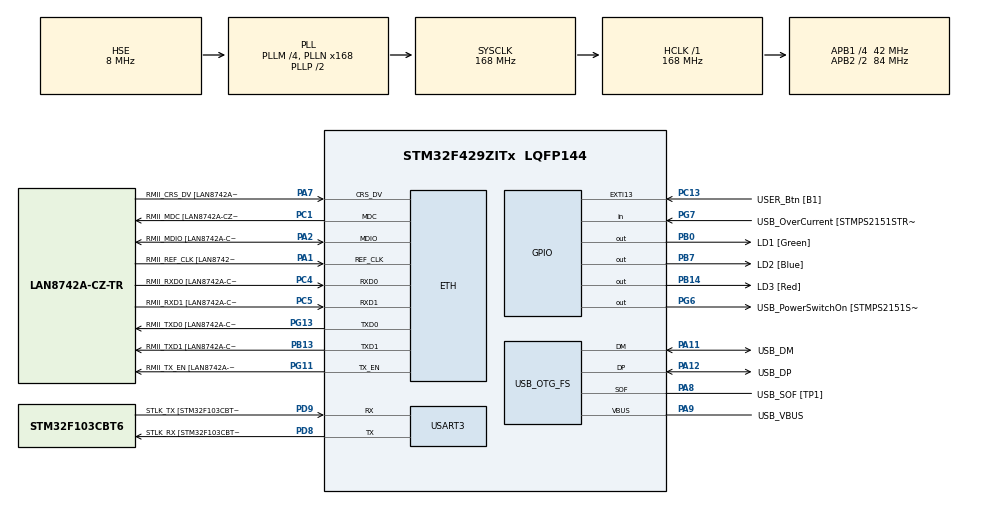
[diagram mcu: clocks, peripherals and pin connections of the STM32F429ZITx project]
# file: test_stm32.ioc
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Mcu.Family=STM32F4
RCC.CortexFreq_Value=168000000
PG6.Signal=GPIO_Output
PB14.GPIO_Label=LD3 [Red]
PG6.GPIO_Label=USB_PowerSwitchOn [STMPS2151STR_EN]
PA14.GPIO_Label=TCK
RCC.SYSCLKSourceVirtual=RCC_SYSCLKSOURCE_PLLCLK
PA11.Mode=Device_Only
PB0.GPIO_Label=LD1 [Green]
PC14/OSC32_IN.Mode=LSE-External-Oscillator
PC5.Mode=RMII
PC13.GPIO_Label=USER_Btn [B1]
PB13.GPIO_Label=RMII_TXD1 [LAN8742A-CZ-TR_TXD1]
PB13.Signal=ETH_TXD1
PG13.Signal=ETH_TXD0
PD9.Mode=Asynchronous
PG11.Signal=ETH_TX_EN
RCC.SYSCLKSource=RCC_SYSCLKSOURCE_PLLCLK
ProjectManager.StackSize=0x400
PA12.Signal=USB_OTG_FS_DP
ETH.PHY_Value=0
PH0/OSC_IN.Mode=HSE-External-Clock-Source
RCC.HCLKFreq_Value=168000000
RCC.APB2TimFreq_Value=168000000
PH1/OSC_OUT.Signal=RCC_OSC_OUT
PD8.Signal=USART3_TX
RCC.AHBFreq_Value=168000000
NVIC.EXTI15_10_IRQn=true\:0\:0\:false\:false\:true\:true\:true
RCC.HSE_VALUE=8000000
RCC.PLLMUL=RCC_PLL_MUL9
PC4.GPIO_Label=RMII_RXD0 [LAN8742A-CZ-TR_RXD0]
PA14.Mode=Serial_Wire
PA10.GPIO_Label=USB_ID
PB7.Signal=GPIO_Output
PA8.Signal=USB_OTG_FS_SOF
PG13.Mode=RMII
ETH.PHY_Name=LAN8742A_PHY_ADDRESS
PH1/OSC_OUT.Mode=HSE-External-Clock-Source
PB7.GPIO_Label=LD2 [Blue]
Mcu.Package=LQFP144
PC14/OSC32_IN.Signal=RCC_OSC32_IN
PA2.GPIO_Label=RMII_MDIO [LAN8742A-CZ-TR_MDIO]
PA10.Signal=USB_OTG_FS_ID
USB_OTG_FS.VirtualMode=Device_Only
RCC.APB2CLKDivider=RCC_HCLK_DIV2
RCC.APB1TimFreq_Value=84000000
PG11.GPIO_Label=RMII_TX_EN [LAN8742A-CZ-TR_TXEN]
PC5.Signal=ETH_RXD1
PB13.Mode=RMII
PC4.Mode=RMII
ETH.AutoNegotiation=ETH_AUTONEGOTIATION_DISABLE
PA7.Mode=RMII
PG7.Signal=GPIO_Input
PD9.GPIO_Label=STLK_TX [STM32F103CBT6_PA2]
PC13.Signal=GPXTI13
PA9.GPIO_Label=USB_VBUS
PC4.Signal=ETH_RXD0
PA11.GPIO_Label=USB_DM
PD9.Signal=USART3_RX
RCC.APB1CLKDivider=RCC_HCLK_DIV4
PG13.GPIO_Label=RMII_TXD0 [LAN8742A-CZ-TR_TXD0]
ETH.PhyAddress=0
PA12.GPIO_Label=USB_DP
PD8.GPIO_Label=STLK_RX [STM32F103CBT6_PA3]
PA13.Signal=SYS_JTMS-SWDIO
PA9.Mode=Activate_VBUS
PA8.GPIO_Label=USB_SOF [TP1]
ProjectManager.TargetToolchain=STM32CubeIDE
PA9.Signal=USB_OTG_FS_VBUS
RCC.USBFreq_Value=48000000
PD8.Mode=Asynchronous
PA1.Signal=ETH_REF_CLK
PB14.Signal=GPIO_Output
board=NUCLEO-F429ZI
RCC.VCOOutputFreq_Value=336000000
PH0/OSC_IN.Signal=RCC_OSC_IN
RCC.APB2Freq_Value=84000000
PA1.Mode=RMII
RCC.PRESCALERUSB=RCC_USBCLKSOURCE_PLL_DIV1_5
PG7.GPIO_Label=USB_OverCurrent [STMPS2151STR_FAULT]
PA1.GPIO_Label=RMII_REF_CLK [LAN8742A-CZ-TR_REFCLK0]
PC1.GPIO_Label=RMII_MDC [LAN8742A-CZ-TR_MDC]
PA13.Mode=Serial_Wire
Mcu.Name=STM32F429ZITx
PA2.Signal=ETH_MDIO
PA13.GPIO_Label=TMS
RCC.APB2TimCLKDivider=2
RCC.48MHZClocksFreq_Value=48000000
RCC.SYSCLKFreq_VALUE=168000000
ETH.MediaInterface=ETH_MEDIA_INTERFACE_RMII
PA7.GPIO_Label=RMII_CRS_DV [LAN8742A-CZ-TR_CRS_DV]
PA12.Mode=Device_Only
PC5.GPIO_Label=RMII_RXD1 [LAN8742A-CZ-TR_RXD1]
USART3.VirtualMode=VM_ASYNC
PC15/OSC32_OUT.Mode=LSE-External-Oscillator
PG11.Mode=RMII
PA11.Signal=USB_OTG_FS_DM
PA14.Signal=SYS_JTCK-SWCLK
ProjectManager.HeapSize=0x200
RCC.HSI_VALUE=16000000
PH0/OSC_IN.GPIO_Label=MCO [STM32F103CBT6_PA8]
RCC.PLLQ=7
NVIC.PriorityGroup=NVIC_PRIORITYGROUP_4
RCC.PLLM=4
RCC.PLLN=168
PA2.Mode=RMII
PC15/OSC32_OUT.Signal=RCC_OSC32_OUT
PA8.Mode=Activate_SOF_FS
RCC.APB1Freq_Value=42000000
PB0.Signal=GPIO_Output
PC1.Signal=ETH_MDC
PC1.Mode=RMII
PA7.Signal=ETH_CRS_DV

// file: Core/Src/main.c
/* USER CODE BEGIN Header */
/**
  ******************************************************************************
  * @file           : main.c
  * @brief          : Main program body
  ******************************************************************************
  * @attention
  *
  * <h2><center>&copy; Copyright (c) 2021 STMicroelectronics.
  * All rights reserved.</center></h2>
  *
  * This software component is licensed by ST under BSD 3-Clause license,
  * the "License"; You may not use this file except in compliance with the
  * License. You may obtain a copy of the License at:
  *                        opensource.org/licenses/BSD-3-Clause
  *
  ******************************************************************************
  */
/* USER CODE END Header */
#include "main.h"

ETH_HandleTypeDef heth;

UART_HandleTypeDef huart3;

PCD_HandleTypeDef hpcd_USB_OTG_FS;

/* USER CODE BEGIN PV */
int udelay=500;
int times=0;
/* USER CODE END PV */

void SystemClock_Config(void);
static void MX_GPIO_Init(void);
static void MX_ETH_Init(void);
static void MX_USART3_UART_Init(void);
static void MX_USB_OTG_FS_PCD_Init(void);

int main(void)
{

  /* MCU Configuration--------------------------------------------------------*/

  /* Reset of all peripherals, Initializes the Flash interface and the Systick. */
  HAL_Init();

  /* Configure the system clock */
  SystemClock_Config();

  /* Initialize all configured peripherals */
  MX_GPIO_Init();
  MX_ETH_Init();
  MX_USART3_UART_Init();
  MX_USB_OTG_FS_PCD_Init();

  /* Infinite loop */
  /* USER CODE BEGIN WHILE */
  while (1)
  {
	  if(times==0){
		  	  HAL_GPIO_WritePin(GPIOB,GPIO_PIN_0,0);
		  	  HAL_GPIO_WritePin(GPIOB,GPIO_PIN_7,0);
	  		  HAL_GPIO_TogglePin(GPIOB, GPIO_PIN_14);
	  		  HAL_Delay(30);
	  	  }else if(times==1){
	  		HAL_GPIO_WritePin(GPIOB,GPIO_PIN_0,0);
	  		HAL_GPIO_WritePin(GPIOB,GPIO_PIN_7,0);
	  		  HAL_GPIO_TogglePin(GPIOB, GPIO_PIN_14);
	  		  HAL_Delay(300);
	  	  }else if(times==2){
	  		HAL_GPIO_WritePin(GPIOB,GPIO_PIN_0,0);
	  				  	  HAL_GPIO_WritePin(GPIOB,GPIO_PIN_7,0);
	  		  HAL_GPIO_TogglePin(GPIOB, GPIO_PIN_14);
	  		  HAL_Delay(300);
	  	  }else if(times==3){
	  		HAL_GPIO_WritePin(GPIOB,GPIO_PIN_0,0);
	  		HAL_GPIO_WritePin(GPIOB,GPIO_PIN_7,0);
	  		  HAL_GPIO_TogglePin(GPIOB, GPIO_PIN_14);
	  		  HAL_Delay(30);
	  	  }else if(times==4){
	  		HAL_GPIO_WritePin(GPIOB,GPIO_PIN_0,0);
	  		HAL_GPIO_WritePin(GPIOB,GPIO_PIN_14,0);
	  		  HAL_GPIO_TogglePin(GPIOB, GPIO_PIN_7);
	  		  HAL_Delay(30);
	  	  }else if(times==5){
	  		HAL_GPIO_WritePin(GPIOB,GPIO_PIN_0,0);
	  			  		HAL_GPIO_WritePin(GPIOB,GPIO_PIN_14,0);
	  		  HAL_GPIO_TogglePin(GPIOB, GPIO_PIN_7);
	  		  HAL_Delay(300);
	  	  }else if(times==6){
	  		HAL_GPIO_WritePin(GPIOB,GPIO_PIN_7,0);
	  		HAL_GPIO_WritePin(GPIOB,GPIO_PIN_14,0);
	  		  HAL_GPIO_TogglePin(GPIOB, GPIO_PIN_0);
	  		  HAL_Delay(300);
	  	  }else if(times==7){
	  		  HAL_GPIO_WritePin(GPIOB,GPIO_PIN_7,0);
	  		  HAL_GPIO_WritePin(GPIOB,GPIO_PIN_14,0);
	  		  HAL_GPIO_TogglePin(GPIOB, GPIO_PIN_0);
	  		  HAL_Delay(30);
	  	  }else{
	  		  times = 0;
	  	  }
    /* USER CODE END WHILE */

  }
}

void SystemClock_Config(void)
{
  RCC_OscInitTypeDef RCC_OscInitStruct = {0};
  RCC_ClkInitTypeDef RCC_ClkInitStruct = {0};

  /** Configure the main internal regulator output voltage
  */
  __HAL_RCC_PWR_CLK_ENABLE();
  __HAL_PWR_VOLTAGESCALING_CONFIG(PWR_REGULATOR_VOLTAGE_SCALE1);
  /** Initializes the RCC Oscillators according to the specified parameters
  * in the RCC_OscInitTypeDef structure.
  */
  RCC_OscInitStruct.OscillatorType = RCC_OSCILLATORTYPE_HSE;
  RCC_OscInitStruct.HSEState = RCC_HSE_BYPASS;
  RCC_OscInitStruct.PLL.PLLState = RCC_PLL_ON;
  RCC_OscInitStruct.PLL.PLLSource = RCC_PLLSOURCE_HSE;
  RCC_OscInitStruct.PLL.PLLM = 4;
  RCC_OscInitStruct.PLL.PLLN = 168;
  RCC_OscInitStruct.PLL.PLLP = RCC_PLLP_DIV2;
  RCC_OscInitStruct.PLL.PLLQ = 7;
  if (HAL_RCC_OscConfig(&RCC_OscInitStruct) != HAL_OK)
  {
    Error_Handler();
  }
  /** Initializes the CPU, AHB and APB buses clocks
  */
  RCC_ClkInitStruct.ClockType = RCC_CLOCKTYPE_HCLK|RCC_CLOCKTYPE_SYSCLK
                              |RCC_CLOCKTYPE_PCLK1|RCC_CLOCKTYPE_PCLK2;
  RCC_ClkInitStruct.SYSCLKSource = RCC_SYSCLKSOURCE_PLLCLK;
  RCC_ClkInitStruct.AHBCLKDivider = RCC_SYSCLK_DIV1;
  RCC_ClkInitStruct.APB1CLKDivider = RCC_HCLK_DIV4;
  RCC_ClkInitStruct.APB2CLKDivider = RCC_HCLK_DIV2;

  if (HAL_RCC_ClockConfig(&RCC_ClkInitStruct, FLASH_LATENCY_5) != HAL_OK)
  {
    Error_Handler();
  }
}

static void MX_ETH_Init(void)
{

  heth.Instance = ETH;
  heth.Init.AutoNegotiation = ETH_AUTONEGOTIATION_DISABLE;
  heth.Init.Speed = ETH_SPEED_100M;
  heth.Init.DuplexMode = ETH_MODE_FULLDUPLEX;
  heth.Init.PhyAddress = LAN8742A_PHY_ADDRESS;
  heth.Init.MACAddr[0] =   0x00;
  heth.Init.MACAddr[1] =   0x80;
  heth.Init.MACAddr[2] =   0xE1;
  heth.Init.MACAddr[3] =   0x00;
  heth.Init.MACAddr[4] =   0x00;
  heth.Init.MACAddr[5] =   0x00;
  heth.Init.RxMode = ETH_RXPOLLING_MODE;
  heth.Init.ChecksumMode = ETH_CHECKSUM_BY_HARDWARE;
  heth.Init.MediaInterface = ETH_MEDIA_INTERFACE_RMII;

  if (HAL_ETH_Init(&heth) != HAL_OK)
  {
    Error_Handler();
  }

}

static void MX_USART3_UART_Init(void)
{

  huart3.Instance = USART3;
  huart3.Init.BaudRate = 115200;
  huart3.Init.WordLength = UART_WORDLENGTH_8B;
  huart3.Init.StopBits = UART_STOPBITS_1;
  huart3.Init.Parity = UART_PARITY_NONE;
  huart3.Init.Mode = UART_MODE_TX_RX;
  huart3.Init.HwFlowCtl = UART_HWCONTROL_NONE;
  huart3.Init.OverSampling = UART_OVERSAMPLING_16;
  if (HAL_UART_Init(&huart3) != HAL_OK)
  {
    Error_Handler();
  }

}

static void MX_USB_OTG_FS_PCD_Init(void)
{

  hpcd_USB_OTG_FS.Instance = USB_OTG_FS;
  hpcd_USB_OTG_FS.Init.dev_endpoints = 4;
  hpcd_USB_OTG_FS.Init.speed = PCD_SPEED_FULL;
  hpcd_USB_OTG_FS.Init.dma_enable = DISABLE;
  hpcd_USB_OTG_FS.Init.phy_itface = PCD_PHY_EMBEDDED;
  hpcd_USB_OTG_FS.Init.Sof_enable = ENABLE;
  hpcd_USB_OTG_FS.Init.low_power_enable = DISABLE;
  hpcd_USB_OTG_FS.Init.lpm_enable = DISABLE;
  hpcd_USB_OTG_FS.Init.vbus_sensing_enable = ENABLE;
  hpcd_USB_OTG_FS.Init.use_dedicated_ep1 = DISABLE;
  if (HAL_PCD_Init(&hpcd_USB_OTG_FS) != HAL_OK)
  {
    Error_Handler();
  }

}

static void MX_GPIO_Init(void)
{
  GPIO_InitTypeDef GPIO_InitStruct = {0};

  /* GPIO Ports Clock Enable */
  __HAL_RCC_GPIOC_CLK_ENABLE();
  __HAL_RCC_GPIOH_CLK_ENABLE();
  __HAL_RCC_GPIOA_CLK_ENABLE();
  __HAL_RCC_GPIOB_CLK_ENABLE();
  __HAL_RCC_GPIOD_CLK_ENABLE();
  __HAL_RCC_GPIOG_CLK_ENABLE();

  /*Configure GPIO pin Output Level */
  HAL_GPIO_WritePin(GPIOB, LD1_Pin|LD3_Pin|LD2_Pin, GPIO_PIN_RESET);

  /*Configure GPIO pin Output Level */
  HAL_GPIO_WritePin(USB_PowerSwitchOn_GPIO_Port, USB_PowerSwitchOn_Pin, GPIO_PIN_RESET);

  /*Configure GPIO pin : USER_Btn_Pin */
  GPIO_InitStruct.Pin = USER_Btn_Pin;
  GPIO_InitStruct.Mode = GPIO_MODE_IT_RISING;
  GPIO_InitStruct.Pull = GPIO_NOPULL;
  HAL_GPIO_Init(USER_Btn_GPIO_Port, &GPIO_InitStruct);

  /*Configure GPIO pins : LD1_Pin LD3_Pin LD2_Pin */
  GPIO_InitStruct.Pin = LD1_Pin|LD3_Pin|LD2_Pin;
  GPIO_InitStruct.Mode = GPIO_MODE_OUTPUT_PP;
  GPIO_InitStruct.Pull = GPIO_NOPULL;
  GPIO_InitStruct.Speed = GPIO_SPEED_FREQ_LOW;
  HAL_GPIO_Init(GPIOB, &GPIO_InitStruct);

  /*Configure GPIO pin : USB_PowerSwitchOn_Pin */
  GPIO_InitStruct.Pin = USB_PowerSwitchOn_Pin;
  GPIO_InitStruct.Mode = GPIO_MODE_OUTPUT_PP;
  GPIO_InitStruct.Pull = GPIO_NOPULL;
  GPIO_InitStruct.Speed = GPIO_SPEED_FREQ_LOW;
  HAL_GPIO_Init(USB_PowerSwitchOn_GPIO_Port, &GPIO_InitStruct);

  /*Configure GPIO pin : USB_OverCurrent_Pin */
  GPIO_InitStruct.Pin = USB_OverCurrent_Pin;
  GPIO_InitStruct.Mode = GPIO_MODE_INPUT;
  GPIO_InitStruct.Pull = GPIO_NOPULL;
  HAL_GPIO_Init(USB_OverCurrent_GPIO_Port, &GPIO_InitStruct);

  /* EXTI interrupt init*/
  HAL_NVIC_SetPriority(EXTI15_10_IRQn, 0, 0);
  HAL_NVIC_EnableIRQ(EXTI15_10_IRQn);

}

void Error_Handler(void)
{
  __disable_irq();
  while (1)
  {
  }
}

/************************ (C) COPYRIGHT STMicroelectronics *****END OF FILE****/
